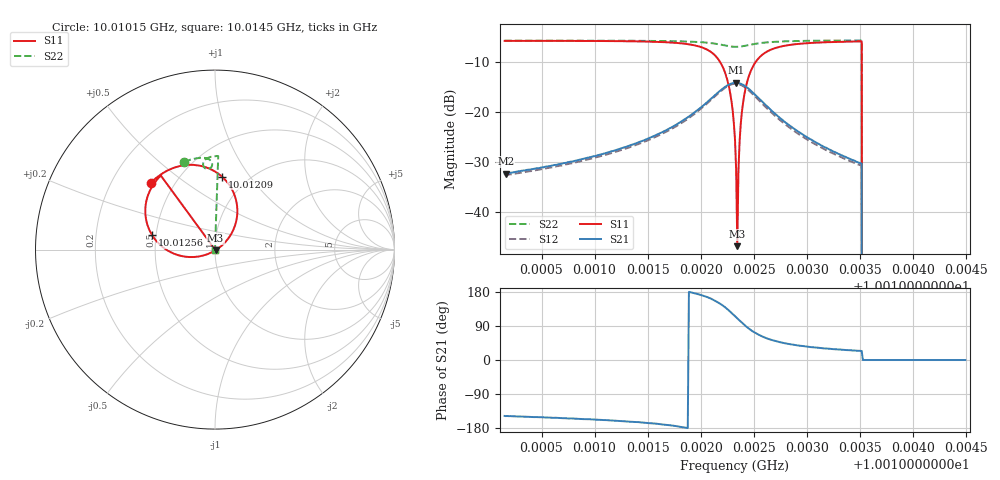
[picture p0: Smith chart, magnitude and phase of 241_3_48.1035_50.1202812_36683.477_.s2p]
#  HZ  S  RI  R  50.00
! Rohde & Schwarz Vector Network Analyzer
! Rohde-Schwarz,ZNB20-2Port,1311601062101988,3.16
! Created: UTC 12/23/2023, 3:58:46 AM
! freq[Hz]  re:S11  im:S11  re:S21  im:S21  re:S12  im:S12  re:S22  im:S22
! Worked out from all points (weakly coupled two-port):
!   401 points, 10.01015 GHz to 10.0145 GHz, reference 50 ohm
!   highest |S21| = -14.09 dB at 10.01234 GHz (marker M1); lowest = -32.2 dB at 10.01016 GHz (marker M2)
!   lowest |S11| = -46.7 dB at 10.01235 GHz (marker M3), VSWR 1.01, Z = 50.3 - j0.338 ohm
!   |S11| at or under -10 dB: 10.01218 GHz to 10.01252 GHz (332.4 kHz wide, 0.00332 % of centre); 10.01352 GHz to end of sweep
!   |S22| runs from - to -5.6 dB; largest |S21 - S12| = 0.0099
!   S11 on the Smith chart (normalised r, x): 10.01015 GHz: 0.37, +0.38; 10.01209 GHz: 0.76, +0.75; 10.01256 GHz: 0.47, +0.09; 10.0145 GHz: 1.00, +0.00
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1.0010152e10  -0.3579 0.3727  -0.0207 -0.0131  -0.0193 -0.0137  -0.1727 0.4894
1.0010163e10  -0.3571 0.3732  -0.0208 -0.013  -0.0194 -0.0136  -0.172 0.4895
1.001088e10  -0.3017 0.4185  -0.031 -0.014  -0.0291 -0.0149  -0.1252 0.504
1.0011607e10  -0.1926 0.4663  -0.06 -0.0117  -0.0572 -0.0141  -0.0703 0.5115
1.0012085e10  0.0386 0.4067  -0.1273 0.038  -0.1257 0.03  -0.0216 0.4925
1.0012194e10  0.1155 0.2823  -0.1402 0.0919  -0.1415 0.0827  -0.0157 0.4729
1.0012259e10  0.1179 0.1566  -0.1267 0.1384  -0.1298 0.1299  -0.0214 0.4583
1.0012303e10  0.0785 0.068  -0.1021 0.167  -0.1072 0.1588  -0.0302 0.4511
1.0012313e10  0.0621 0.0469  -0.0938 0.1731  -0.0987 0.1654  -0.0335 0.4499
1.0012324e10  0.0449 0.0288  -0.0854 0.1779  -0.0901 0.1706  -0.0362 0.4492
1.0012335e10  0.0242 0.0111  -0.0759 0.1823  -0.0808 0.1752  -0.0396 0.4488
1.0012346e10  0.00315 -0.00336  -0.0668 0.1854  -0.0711 0.1787  -0.0425 0.4489
1.0012368e10  -0.0439 -0.0263  -0.0475 0.1888  -0.0516 0.1825  -0.0485 0.45
1.0012379e10  -0.0689 -0.0338  -0.0378 0.1893  -0.0423 0.1829  -0.0514 0.4511
1.0012389e10  -0.0935 -0.0389  -0.0279 0.1886  -0.0327 0.1825  -0.054 0.4524
1.0012422e10  -0.1647 -0.0396  -0.000874 0.1821  -0.00623 0.1762  -0.0604 0.4582
1.0012563e10  -0.3518 0.0826  0.0573 0.1203  0.0513 0.1167  -0.0643 0.4869
1.0013052e10  -0.3554 0.3428  0.0438 0.0292  0.0401 0.0297  -0.0187 0.5179
1.0013497e10  -0.3039 0.4101  0.0285 0.0128  0.0266 0.0136  0.0163 0.5213
1.0013552e10  0 0  0 0  0 0  0 0
1.001378e10  0 0  0 0  0 0  0 0
1.0014497e10  0 0  0 0  0 0  0 0
